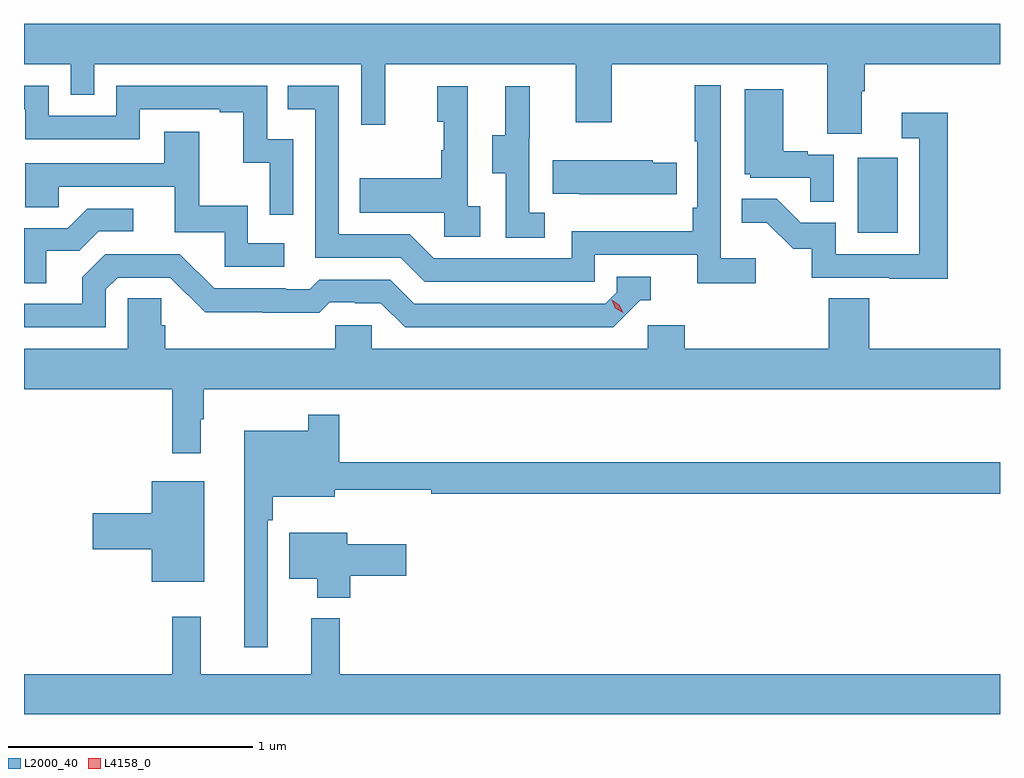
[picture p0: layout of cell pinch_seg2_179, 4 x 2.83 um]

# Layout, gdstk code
import gdstk
lib = gdstk.Library(unit=1e-6, precision=1e-09)
def R(c, l, rs):  # rectangles x0, y0, x1, y1
    for r in rs: c.add(gdstk.rectangle(r[:2], r[2:], *l))
def P(c, l, *ps):  # polygons
    for p in ps: c.add(gdstk.Polygon(p, *l))
L2000_40 = (2000, 40)
L4158_0 = (4158, 0)

pinch_seg2_179 = lib.new_cell('pinch_seg2_179')
R(pinch_seg2_179, L2000_40, [(1140.164,637.62,1140.328,637.927)])
P(pinch_seg2_179, L2000_40, [(1140.181,638.2),(1140.194,638.2),(1140.194,638.312),(1140.748,638.312),(1140.748,638.476),(1136.748,638.476),(1136.748,638.312),(1136.94,638.312),(1136.94,638.185),(1137.036,638.185),(1137.036,638.312),(1138.131,638.312),(1138.131,638.064),(1138.229,638.064),(1138.229,638.312),(1139.009,638.312),(1139.009,638.073),(1139.157,638.073),(1139.157,638.312),(1140.041,638.312),(1140.041,638.026),(1140.181,638.026)],
  [(1139.746,637.516),(1139.604,637.516),(1139.604,638.224),(1139.496,638.224),(1139.496,637.996),(1139.508,637.996),(1139.508,637.723),(1139.488,637.723),(1139.488,637.627),(1138.992,637.627),(1138.992,637.515),(1138.428,637.515),(1138.329,637.614),(1138.038,637.614),(1138.038,638.223),(1137.829,638.223),(1137.829,638.127),(1137.942,638.127),(1137.942,637.518),(1138.292,637.518),(1138.391,637.419),(1139.088,637.419),(1139.088,637.53),(1139.507,637.53),(1139.507,637.414),(1139.746,637.414)],
  [(1137.852,638.004),(1137.744,638.004),(1137.744,638.223),(1137.126,638.223),(1137.126,638.1),(1136.85,638.1),(1136.85,638.223),(1136.748,638.223),(1136.748,638.127),(1136.754,638.127),(1136.754,638.004),(1137.222,638.004),(1137.222,638.127),(1137.551,638.127),(1137.551,638.115),(1137.647,638.115),(1137.647,637.907),(1137.756,637.907),(1137.756,637.695),(1137.852,637.695)],
  [(1138.618,637.73),(1138.566,637.73),(1138.566,638.221),(1138.442,638.221),(1138.442,638.076),(1138.468,638.076),(1138.468,637.958),(1138.458,637.958),(1138.458,637.843),(1138.123,637.843),(1138.123,637.703),(1138.47,637.703),(1138.47,637.605),(1138.618,637.605)],
  [(1138.882,637.703),(1138.818,637.703),(1138.818,638.007),(1138.82,638.007),(1138.82,638.221),(1138.721,638.221),(1138.721,638.019),(1138.667,638.019),(1138.667,637.864),(1138.722,637.864),(1138.722,637.6),(1138.882,637.6)],
  [(1140.066,637.941),(1139.96,637.941),(1139.96,637.954),(1139.86,637.954),(1139.86,638.209),(1139.702,638.209),(1139.702,637.86),(1139.724,637.86),(1139.724,637.845),(1139.971,637.845),(1139.971,637.747),(1140.066,637.747)],
  [(1140.533,638.113),(1140.345,638.113),(1140.345,638.007),(1140.417,638.007),(1140.417,637.533),(1140.075,637.533),(1140.075,637.662),(1139.931,637.662),(1139.833,637.76),(1139.689,637.76),(1139.689,637.661),(1139.793,637.661),(1139.9,637.554),(1139.977,637.554),(1139.977,637.437),(1140.295,637.437),(1140.295,637.432),(1140.533,637.432)],
  [(1137.814,637.578),(1137.666,637.578),(1137.666,637.732),(1137.467,637.732),(1137.467,638.035),(1137.323,638.035),(1137.323,637.905),(1136.754,637.905),(1136.754,637.725),(1136.891,637.725),(1136.891,637.809),(1137.365,637.809),(1137.365,637.623),(1137.57,637.623),(1137.57,637.482),(1137.814,637.482)],
  [(1139.423,637.908),(1139.325,637.908),(1139.325,637.918),(1138.915,637.918),(1138.915,637.781),(1139.023,637.781),(1139.023,637.778),(1139.423,637.778)],
  [(1136.839,637.546),(1136.974,637.546),(1137.054,637.626),(1137.196,637.626),(1137.196,637.719),(1137.008,637.719),(1136.927,637.638),(1136.748,637.638),(1136.748,637.414),(1136.839,637.414)],
  [(1137.084,637.389),(1137.132,637.437),(1137.348,637.437),(1137.49,637.295),(1137.726,637.295),(1137.726,637.293),(1137.959,637.293),(1138.001,637.335),(1138.104,637.335),(1138.104,637.332),(1138.211,637.332),(1138.31,637.233),(1139.163,637.233),(1139.274,637.344),(1139.317,637.344),(1139.317,637.44),(1139.178,637.44),(1139.178,637.377),(1139.13,637.329),(1138.347,637.329),(1138.248,637.428),(1137.959,637.428),(1137.92,637.389),(1137.821,637.389),(1137.821,637.392),(1137.528,637.392),(1137.387,637.533),(1137.081,637.533),(1136.987,637.439),(1136.987,637.329),(1136.748,637.329),(1136.748,637.233),(1137.084,637.233)],
  [(1137.472,636.857),(1137.484,636.857),(1137.484,636.98),(1140.748,636.98),(1140.748,637.144),(1140.212,637.144),(1140.212,637.352),(1140.047,637.352),(1140.047,637.144),(1139.456,637.144),(1139.456,637.242),(1139.304,637.242),(1139.304,637.144),(1138.173,637.144),(1138.173,637.242),(1138.023,637.242),(1138.023,637.144),(1137.326,637.144),(1137.326,637.242),(1137.311,637.242),(1137.311,637.352),(1137.174,637.352),(1137.174,637.144),(1136.748,637.144),(1136.748,636.98),(1137.355,636.98),(1137.355,636.717),(1137.472,636.717)],
  [(1137.747,636.443),(1137.767,636.443),(1137.767,636.539),(1138.021,636.539),(1138.021,636.568),(1138.417,636.568),(1138.417,636.55),(1140.748,636.55),(1140.748,636.679),(1138.04,636.679),(1138.04,636.874),(1137.912,636.874),(1137.912,636.808),(1137.65,636.808),(1137.65,635.922),(1137.747,635.922)],
  [(1137.487,636.601),(1137.272,636.601),(1137.272,636.47),(1137.03,636.47),(1137.03,636.323),(1137.272,636.323),(1137.272,636.191),(1137.487,636.191)],
  [(1138.085,636.214),(1138.315,636.214),(1138.315,636.343),(1138.072,636.343),(1138.072,636.391),(1137.836,636.391),(1137.836,636.203),(1137.95,636.203),(1137.95,636.125),(1138.085,636.125)],
  [(1140.748,635.812),(1138.043,635.812),(1138.043,636.04),(1137.926,636.04),(1137.926,635.812),(1137.473,635.812),(1137.473,636.046),(1137.355,636.046),(1137.355,635.812),(1136.748,635.812),(1136.748,635.648),(1140.748,635.648)])
P(pinch_seg2_179, L4158_0, [(1139.203,637.292),(1139.172,637.312),(1139.156,637.345),(1139.156,637.345),(1139.156,637.345),(1139.187,637.325),(1139.203,637.293),(1139.203,637.292)])

lib.write_gds('pinch_seg2_179.gds')
